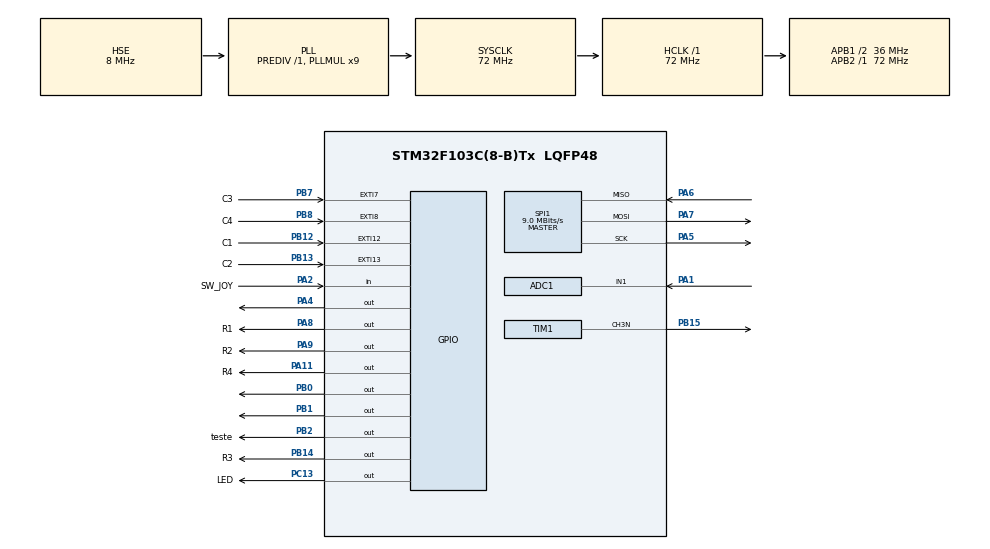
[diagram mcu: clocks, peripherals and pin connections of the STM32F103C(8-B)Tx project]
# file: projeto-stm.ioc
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ADC1.Channel-0\#ChannelRegularConversion=ADC_CHANNEL_1
ADC1.ContinuousConvMode=ENABLE
ADC1.Mode=__NULL
ADC1.NbrOfConversionFlag=1
ADC1.Rank-0\#ChannelRegularConversion=1
ADC1.SamplingTime-0\#ChannelRegularConversion=ADC_SAMPLETIME_55CYCLES_5
ADC1.master=1
Mcu.Family=STM32F1
Mcu.Name=STM32F103C(8-B)Tx
Mcu.Package=LQFP48
NVIC.EXTI15_10_IRQn=true\:0\:0\:false\:false\:true\:true\:true\:true
NVIC.EXTI9_5_IRQn=true\:0\:0\:false\:false\:true\:true\:true\:true
NVIC.PriorityGroup=NVIC_PRIORITYGROUP_4
NVIC.TIM2_IRQn=true\:0\:0\:false\:false\:true\:true\:true\:true
PA1.Signal=ADCx_IN1
PA10.Signal=S_TIM1_CH3
PA11.GPIO_Label=R4
PA11.PinState=GPIO_PIN_SET
PA11.Signal=GPIO_Output
PA13.Mode=Serial_Wire
PA13.Signal=SYS_JTMS-SWDIO
PA14.Mode=Serial_Wire
PA14.Signal=SYS_JTCK-SWCLK
PA2.GPIO_Label=SW_JOY
PA2.GPIO_PuPd=GPIO_PULLUP
PA2.Signal=GPIO_Input
PA4.GPIO_Speed=GPIO_SPEED_FREQ_HIGH
PA4.Signal=GPIO_Output
PA5.Mode=Full_Duplex_Master
PA5.Signal=SPI1_SCK
PA6.Mode=Full_Duplex_Master
PA6.Signal=SPI1_MISO
PA7.Mode=Full_Duplex_Master
PA7.Signal=SPI1_MOSI
PA8.GPIO_Label=R1
PA8.PinState=GPIO_PIN_SET
PA8.Signal=GPIO_Output
PA9.GPIO_Label=R2
PA9.PinState=GPIO_PIN_SET
PA9.Signal=GPIO_Output
PB0.GPIO_Speed=GPIO_SPEED_FREQ_HIGH
PB0.Signal=GPIO_Output
PB1.GPIO_Speed=GPIO_SPEED_FREQ_HIGH
PB1.Signal=GPIO_Output
PB12.GPIO_Label=C1
PB12.GPIO_ModeDefaultEXTI=GPIO_MODE_IT_FALLING
PB12.GPIO_PuPd=GPIO_PULLUP
PB12.Signal=GPXTI12
PB13.GPIO_Label=C2
PB13.GPIO_ModeDefaultEXTI=GPIO_MODE_IT_FALLING
PB13.GPIO_PuPd=GPIO_PULLUP
PB13.Signal=GPXTI13
PB14.GPIO_Label=R3
PB14.PinState=GPIO_PIN_SET
PB14.Signal=GPIO_Output
PB15.Mode=PWM Generation3 CH3N
PB15.Signal=TIM1_CH3N
PB2.GPIO_Label=teste
PB2.Signal=GPIO_Output
PB7.GPIO_Label=C3
PB7.GPIO_ModeDefaultEXTI=GPIO_MODE_IT_FALLING
PB7.GPIO_PuPd=GPIO_PULLUP
PB7.Signal=GPXTI7
PB8.GPIO_Label=C4
PB8.GPIO_ModeDefaultEXTI=GPIO_MODE_IT_FALLING
PB8.GPIO_PuPd=GPIO_PULLUP
PB8.Signal=GPXTI8
PC13-TAMPER-RTC.GPIO_Label=LED
PC13-TAMPER-RTC.GPIO_PuPd=GPIO_PULLDOWN
PC13-TAMPER-RTC.GPIO_Speed=GPIO_SPEED_FREQ_LOW
PC13-TAMPER-RTC.PinState=GPIO_PIN_SET
PC13-TAMPER-RTC.Signal=GPIO_Output
PC14-OSC32_IN.Mode=LSE-External-Oscillator
PC14-OSC32_IN.Signal=RCC_OSC32_IN
PC15-OSC32_OUT.Mode=LSE-External-Oscillator
PC15-OSC32_OUT.Signal=RCC_OSC32_OUT
PD0-OSC_IN.Mode=HSE-External-Oscillator
PD0-OSC_IN.Signal=RCC_OSC_IN
PD1-OSC_OUT.Mode=HSE-External-Oscillator
PD1-OSC_OUT.Signal=RCC_OSC_OUT
ProjectManager.HeapSize=0x200
ProjectManager.StackSize=0x400
ProjectManager.TargetToolchain=STM32CubeIDE
RCC.ADCPresc=RCC_ADCPCLK2_DIV6
RCC.AHBFreq_Value=72000000
RCC.APB1CLKDivider=RCC_HCLK_DIV2
RCC.APB1Freq_Value=36000000
RCC.APB1TimFreq_Value=72000000
RCC.APB2Freq_Value=72000000
RCC.APB2TimFreq_Value=72000000
RCC.HCLKFreq_Value=72000000
RCC.PLLMUL=RCC_PLL_MUL9
RCC.PLLSourceVirtual=RCC_PLLSOURCE_HSE
RCC.SYSCLKFreq_VALUE=72000000
RCC.SYSCLKSource=RCC_SYSCLKSOURCE_PLLCLK
RCC.USBFreq_Value=72000000
SH.ADCx_IN1.0=ADC1_IN1,IN1
SH.S_TIM1_CH3.0=TIM1_CH3
SPI1.BaudRatePrescaler=SPI_BAUDRATEPRESCALER_8
SPI1.CalculateBaudRate=9.0 MBits/s
SPI1.Direction=SPI_DIRECTION_2LINES
SPI1.Mode=SPI_MODE_MASTER
SPI1.VirtualType=VM_MASTER
TIM1.Channel-PWM\ Generation3\ CH3N=TIM_CHANNEL_3
TIM1.Period=999
TIM1.Prescaler=71
TIM1.Pulse-PWM\ Generation3\ CH3N=500
TIM2.Period=2999
TIM2.Prescaler=359
TIM3.Period=4999
TIM3.Prescaler=35999
VP_TIM1_VS_ClockSourceINT.Mode=Internal
VP_TIM2_VS_ClockSourceINT.Mode=Internal
VP_TIM3_VS_ClockSourceINT.Mode=Internal
board=custom

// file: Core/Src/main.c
/* USER CODE BEGIN Header */
/* USER CODE END Header */
#include "main.h"

/* USER CODE BEGIN Includes */
#include <stdlib.h> // Para 'srand' e 'rand'
#include <stdio.h>  // Para 'sprintf'
#include "my_font.h"
#include "st7789.h"
#include "keypad.h"
#include "joystick.h"
/* USER CODE END Includes */

ADC_HandleTypeDef hadc1;

SPI_HandleTypeDef hspi1;

TIM_HandleTypeDef htim1;
TIM_HandleTypeDef htim2;
TIM_HandleTypeDef htim3;

/* USER CODE BEGIN PV */

#define LED_GPIO_Port GPIOC
#define LED_Pin GPIO_PIN_13
// BASE DA VELOCIDADE:

// As variaveis g_ball_dx e g_ball_dy (agora em 2, 1) devem ser alteradas , setadas para teste
#define BALL_BASE_DX 2
#define BALL_BASE_DY 1

// --- VARIÁVEIS DA RAQUETE/PADDLE ---
#define PADDLE_WIDTH 5        // Largura da raquete (Eixo X)
#define PADDLE_HEIGHT 60
#define PADDLE_MOVE_STEP 4
// Raquete começa 5 pixels longe da borda direita (240 - 5 - 8 = 227)
#define PADDLE_X_POS (DISPLAY_WIDTH - PADDLE_WIDTH - 5) // **DEVE SER 227**
// Posição Y do topo da raquete (Inicializada no centro)
volatile uint16_t g_paddle_y = (DISPLAY_HEIGHT / 2) - (PADDLE_HEIGHT / 2);

// Variáveis de controle de tempo e estado
volatile uint32_t g_start_time = 0;
volatile uint8_t g_program_state = 0; // 0: Rodando (Bolinha), 1: Esperando Input

// VARIAVEL DE CONTROLE DE ESCALA
volatile float g_ball_speed_scale = 1.0f;
volatile uint32_t g_buzzer_duration_counter = 0;

// Frequência de 500Hz para o tom (Buzzer Passivo)
#define BUZZER_PERIOD_COLLISION 1999 // Periodo para ~500Hz com Prescaler 71
#define BUZZER_DUTY_CYCLE (BUZZER_PERIOD_COLLISION / 2) // 50% de ciclo de trabalho
#define BUZZER_COLLISION_MS 50 // Duração do som (50ms)

//Definicao JoyStick
#define JOY_SW_Port GPIOA
#define JOY_SW_Pin  GPIO_PIN_2

// Variável global para rastrear o estado anterior do botão
volatile uint8_t g_sw_joy_pressed_prev = 0; // 0 = Solto, 1 = Pressionado

//configuracoes para a conta matematica
volatile uint8_t g_num1;
volatile uint8_t g_num2;
volatile char g_operador; // '*' para multiplicação, '/' para divisão
volatile int16_t g_resposta_correta;

// Variavel de controle de velocidade do joystick
volatile uint8_t g_joystick_state = 0; // 0: Centro, 1: Cima, 2: Baixo
volatile uint8_t state_2_substate = 0;

/* USER CODE END PV */

void SystemClock_Config(void);
static void MX_GPIO_Init(void);
static void MX_TIM1_Init(void);
static void MX_SPI1_Init(void);
static void MX_TIM2_Init(void);
static void MX_TIM3_Init(void);
static void MX_ADC1_Init(void);

/* USER CODE BEGIN PFP */

//VARIAVEL FUNDO TELA
// Variável Global (volátil) para rastrear o estado da cor UTILIZADA NO TIMER 3
volatile uint8_t g_color_state = 0; // 0: Vermelho, 1: Azul

//VARIAVEL BOLINHA
// Posição atual da bolinha (coordenadas do centro)
volatile uint16_t g_ball_x = 120; // Centro X (240/2)
volatile uint16_t g_ball_y = 160; // Centro Y (320/2)

// Direção do movimento (pixels por quadro - 20 FPS)
volatile int8_t g_ball_dx = -2; // Move 2 pixels no eixo X por interrupção
volatile int8_t g_ball_dy = 1; // Move 1 pixel no eixo Y por interrupção
char input_word[16];

extern uint8_t Joystick_GetState(void);
//gerar um valor aleatorio RANDOM
uint32_t GenerateStrongSeed(void);
/* USER CODE END PFP */

/* USER CODE BEGIN 0 */

// Funções para controlar o PWM do BUZZER ----------------------------------
void Buzzer_Start(void)
{
    // 1. Configurar o TIM1 para a frequência audível (3kHz)
    TIM_OC_InitTypeDef sConfigOC = {0};

    sConfigOC.OCMode = TIM_OCMODE_PWM1;
    sConfigOC.Pulse = BUZZER_DUTY_CYCLE;
    sConfigOC.OCPolarity = TIM_OCPOLARITY_HIGH;
    sConfigOC.OCFastMode = TIM_OCFAST_DISABLE;

    // Configura o Período para a frequência do tom (3kHz)
    htim1.Init.Period = BUZZER_PERIOD_COLLISION;
    HAL_TIM_Base_Init(&htim1); // Aplica o novo período

    // Configura e inicia o Canal 3 (CH3) - PA10 esta conectado aqui
    if (HAL_TIM_PWM_ConfigChannel(&htim1, &sConfigOC, TIM_CHANNEL_3) != HAL_OK)
    {
      Error_Handler();
    }

    // 2. Iniciar o PWM (Se for Complementar - CH3N - pode precisar do Start/Stop N)
    HAL_TIM_PWM_Start(&htim1, TIM_CHANNEL_3);
}

void Buzzer_Stop(void)
{
    // Parar o PWM e garantir silêncio
    HAL_TIM_PWM_Stop(&htim1, TIM_CHANNEL_3);

    // Restaurar o Periodo do TIM1 para o Backlight (do seu código MX_TIM1_Init: 999)
    htim1.Init.Period = 999;
    HAL_TIM_Base_Init(&htim1);

    // Restaurar o ciclo de trabalho do Backlight (Assumindo 100% como no seu código)
    __HAL_TIM_SET_COMPARE(&htim1, TIM_CHANNEL_3, 999);

    // Reiniciar o PWM do Backlight
    HAL_TIM_PWM_Start(&htim1, TIM_CHANNEL_3);
}

/**
  * @brief Gera uma nova pergunta de multiplicação ou divisão.
  * @retval None
  */
void GenerateNewMathQuestion(void) {
    uint8_t op_choice = rand() % 2; // 0: Multiplicação, 1: Divisão

    if (op_choice == 0) { // Multiplicação (Geração de números entre 2 e 12)
        g_operador = 'x';

        // Mantemos um range menor (2 a 12) para que o resultado máximo (12*12 = 144)
        // caiba confortavelmente nas suas variáveis g_num1/g_num2 (uint8_t, max 255).
        g_num1 = (rand() % 11) + 2; // Range [2, 12]
        g_num2 = (rand() % 11) + 2; // Range [2, 12]

        g_resposta_correta = (int16_t)g_num1 * g_num2;
    } else { // Divisão (Geração de divisão com resultado inteiro)
        g_operador = '/';

        // 1. Gerar Quociente (Resultado) e Divisor (Ambos entre 2 e 12)
        uint8_t quociente = (rand() % 11) + 2; // Range [2, 12]
        uint8_t divisor = (rand() % 11) + 2;   // Range [2, 12]

        // 2. Calcular o Dividendo (g_num1) para garantir resultado inteiro
        g_num1 = divisor * quociente; // Dividendo = Divisor * Quociente

        // 3. Checagem de Overflow e Recalculo (Proteção)
        // Se o g_num1 (dividendo) for maior que 255 (máximo para uint8_t),
        // a conta pode ter problemas com a variável global g_num1.
        if (g_num1 > 255) {
             // Se houver overflow, forçamos um range menor, voltando à multiplicação
             // É melhor do que travar o jogo.
             g_operador = 'x';
             g_num1 = (rand() % 5) + 2;  // Range [2, 6]
             g_num2 = (rand() % 5) + 2;  // Range [2, 6]
             g_resposta_correta = (int16_t)g_num1 * g_num2;
             return;
        }

        // 4. Atribuir os valores finais
        g_num2 = divisor;              // O divisor
        g_resposta_correta = quociente; // O resultado (quociente)
    }
}

/**
  * @brief Desenha ou apaga a raquete na tela.
  * @param color: Cor para preencher.
  * @retval None
  */
void DrawPaddle(uint16_t color)
{
    // Define o canto superior esquerdo (x0, y0)
    uint16_t x0 = PADDLE_X_POS;
    uint16_t y0 = g_paddle_y;

    // Define o canto inferior direito (x1, y1)
    // Subtraímos 1 da largura e altura para incluir o pixel inicial.
    uint16_t x1 = PADDLE_X_POS + PADDLE_WIDTH - 1;
    uint16_t y1 = g_paddle_y + PADDLE_HEIGHT - 1;

    // Chama a função FillRect para desenhar o retângulo
    // Nota: A função FillRect que você compartilhou já lida com o WriteCommand(0x2C) e SPI.
    ST7789_FillRect(x0, y0, x1, y1, color);
}

/**
  * @brief Atualiza a posição da raquete baseado no joystick.
  * @retval None
  */
void UpdatePaddlePosition(void) {
    // 1. Salva a posição Y atual (antiga)
    uint16_t y_old = g_paddle_y;
	#define CLEANUP_MARGIN 2
    // 2. Lê o estado do joystick
    g_joystick_state = Joystick_GetState();

    // 3. Calcula a Nova Posição (g_paddle_y)
    if (g_joystick_state == 1) { // Cima
        // Usamos a subtração segura para evitar underflow (se g_paddle_y for uint16_t)
        if (g_paddle_y > PADDLE_MOVE_STEP) {
             g_paddle_y -= PADDLE_MOVE_STEP;
        } else {
             g_paddle_y = 0; // Se o movimento for maior que a posição atual, vai para 0
        }
    } else if (g_joystick_state == 2) { // Baixo
        g_paddle_y += PADDLE_MOVE_STEP;
    }

    // 4. Limita a raquete dentro dos limites (CLIPPING ROBUSTO)
    if (g_paddle_y < 0) {
        g_paddle_y = 0;
    }
    if (g_paddle_y > DISPLAY_HEIGHT - PADDLE_HEIGHT) {
        g_paddle_y = DISPLAY_HEIGHT - PADDLE_HEIGHT;
    }

    // 5. Desenho Otimizado: SOMENTE se a posição MUDOU
    if (g_paddle_y != y_old) {

        // --- APAGAR APENAS A DIFERENÇA (OTIMIZAÇÃO) ---

        // Se moveu para CIMA (y_old > g_paddle_y)
    	if (g_paddle_y < y_old) {

    	    // Área a ser apagada: A base que sobrou na posição antiga

    	    // 1. Ajuste X: Começa a apagar um pouco antes da raquete
    	    uint16_t x0 = PADDLE_X_POS - CLEANUP_MARGIN;

    	    // 2. Ajuste Y: O rastro na parte de baixo
    	    uint16_t y0 = y_old + PADDLE_HEIGHT - PADDLE_MOVE_STEP;
    	    uint16_t y1 = y_old + PADDLE_HEIGHT - 1;

    	    // 3. Ajuste X: Termina de apagar um pouco depois da raquete
    	    uint16_t x1 = PADDLE_X_POS + PADDLE_WIDTH - 1 + CLEANUP_MARGIN;

    	    // Apaga o rastro
    	    ST7789_FillRect(x0, y0, x1, y1, ST7789_COLOR_BLACK);
    	}

    	// Se moveu para BAIXO (g_paddle_y > y_old)
    	else if (g_paddle_y > y_old) {

    	    // Área a ser apagada: O topo que ficou para trás na posição antiga

    	    // 1. Ajuste X: Começa a apagar um pouco antes da raquete
    	    uint16_t x0 = PADDLE_X_POS - CLEANUP_MARGIN;

    	    // 2. Ajuste Y: O rastro na parte de cima
    	    uint16_t y0 = y_old;
    	    uint16_t y1 = y_old + PADDLE_MOVE_STEP - 1;

    	    // 3. Ajuste X: Termina de apagar um pouco depois da raquete
    	    uint16_t x1 = PADDLE_X_POS + PADDLE_WIDTH - 1 + CLEANUP_MARGIN;

    	    // Apaga o rastro
    	    ST7789_FillRect(x0, y0, x1, y1, ST7789_COLOR_BLACK);
    	}

        // --- DESENHAR O NOVO RETÂNGULO ---
        // Desenha o RETÂNGULO COMPLETO na nova posição (g_paddle_y)
        DrawPaddle(ST7789_COLOR_WHITE);
    }
    // Se a posição não mudou, não faz nada.
}

void GameOver(void){

      ST7789_DrawStringScaled(20, 100, "GAME OVER", ST7789_COLOR_WHITE, ST7789_COLOR_BLACK, 4);
      // O loop permanece aqui até um reset (ou lógica de reinício, se você adicionar)
      HAL_Delay(100); // Pequeno delay para evitar que o MCU gire ocioso muito rápido
}

void new_game(void){
	  ST7789_FillColor(ST7789_COLOR_BLACK); // Limpa a tela
	  ST7789_DrawStringScaled(40, 100, "NEW GAME", ST7789_COLOR_WHITE, ST7789_COLOR_BLACK, 4);
	  HAL_Delay(150);
	  cont_regressiva();
	  //Rotoma o jogo
	  // 2. REINICIALIZAÇÃO DA BOLINHA NO CENTRO
	  g_ball_x = DISPLAY_WIDTH / 2; // Centro Horizontal (320)
	  g_ball_y = DISPLAY_HEIGHT / 2; // Centro Vertical (240)

	  // Se BALL_BASE_DX for definido como 2, aqui será -2
	  g_ball_dx = -2; // Move 2 pixels no eixo X por interrupção
	  g_ball_dy = 1; // Move 1 pixel no eixo Y por interrupção)

	  g_program_state = 0; // Volta para o jogo
	  g_start_time = HAL_GetTick();
	  // A bolinha será desenhada na primeira interrupção do TIM2, mas a raquete deve ser imediata
	  DrawPaddle(ST7789_COLOR_WHITE); // Desenha a raquete na posição atual
	  ST7789_DrawBall(g_ball_x, g_ball_y, ST7789_COLOR_WHITE); // Garante que a bolinha apareça antes da interrupção
	  HAL_TIM_Base_Start_IT(&htim2); // RETOMA A ANIMAÇÃO
}

void cont_regressiva(void){
		// X = 108: Centralizado
		const uint16_t X_CENTERED = 148;
		const uint16_t Y_POSITION = 100; // Mantendo a posição vertical
		const uint8_t SCALE = 4;
	  ST7789_FillColor(ST7789_COLOR_BLACK); // Limpa a tela
	  ST7789_DrawStringScaled(X_CENTERED, Y_POSITION, "3", ST7789_COLOR_WHITE, ST7789_COLOR_BLACK, SCALE);
	  HAL_Delay(150);
	  ST7789_FillColor(ST7789_COLOR_BLACK); // Limpa a tela
	  ST7789_DrawStringScaled(X_CENTERED, Y_POSITION, "2", ST7789_COLOR_WHITE, ST7789_COLOR_BLACK, SCALE);
	  HAL_Delay(150);
	  ST7789_FillColor(ST7789_COLOR_BLACK); // Limpa a tela
	  ST7789_DrawStringScaled(X_CENTERED, Y_POSITION, "1", ST7789_COLOR_WHITE, ST7789_COLOR_BLACK, SCALE);
	  HAL_Delay(150);
	  ST7789_FillColor(ST7789_COLOR_BLACK); // Limpa a tela
}
/**
  * @brief Gerar um valor aleatri oatraves do ruido do joystick
  * @retval None
  */
uint32_t GenerateStrongSeed(void) {
    // Fatores variáveis para iteração:
    // 1. Contador de ticks atual (Alto valor após a introdução de 5 segundos)
    uint32_t current_tick = HAL_GetTick();

    // 2. Ruído do Joystick (ADC)
    uint32_t adc_reading = 0;

    // Lista de iteração: Iteramos sobre o número de conversões do ADC.
    const int NUM_ITERATIONS = 32;

    HAL_ADC_Start(&hadc1);

    for (int i = 0; i < NUM_ITERATIONS; i++) {
        if (HAL_ADC_PollForConversion(&hadc1, 10) == HAL_OK) {
            // Combina o ADC com o tick e o índice do loop (i)
            adc_reading ^= HAL_ADC_GetValue(&hadc1) + current_tick + i;
        }
        // Usar um delay muito pequeno aqui aumenta a variância do ADC
        HAL_Delay(1);
    }

    HAL_ADC_Stop(&hadc1);

    // O valor final da semente é a combinação dos fatores iterados.
    return adc_reading ^ current_tick;
}
/**
  * @brief A função chamada pela HAL quando um Timer expira
  * @retval None
  */
void HAL_TIM_PeriodElapsedCallback(TIM_HandleTypeDef *htim)
{

    // Verifica se a interrupção é do Timer 2
	if (htim->Instance == TIM2)
	    {
	    	// Executa apenas se estiver no estado de jogo (Rodando)
	    	if (g_program_state != 0) {
	    	    return; // Se não estiver rodando, apenas retorna
	    	}

	    	//Salvar a posição ANTIGA
			uint16_t x_old = g_ball_x;
			uint16_t y_old = g_ball_y;

	    	uint8_t collision_detected = 0;

	        // 1. Limpar (apagar) a bolinha na posição antiga:
	        //ST7789_DrawBall(g_ball_x, g_ball_y, ST7789_COLOR_BLACK);

	        // 2. CÁLCULO DE COLISÃO E BORDAS

	        // Verifica colisão nas laterais ESQUERDA (Eixo X: 0)
	        // NOTA: A colisão na lateral direita será a raquete ou o Game Over
	        if (g_ball_x + g_ball_dx <= BALL_RADIUS) {
	            g_ball_dx = -g_ball_dx;
	            collision_detected = 1;
			}
	        // Verifica colisão no topo/base (Eixo Y: 0 a 319)
			if (g_ball_y + g_ball_dy >= DISPLAY_HEIGHT - 1 - BALL_RADIUS || g_ball_y + g_ball_dy <= BALL_RADIUS) {
				g_ball_dy = -g_ball_dy;
				collision_detected = 1;
			}

			// --- COLISÃO COM A RAQUETE (LADO DIREITO) ---
	        // 1. Previsão da Próxima Posição da Borda Direita da Bolinha
	        uint16_t next_ball_right_x = g_ball_x + g_ball_dx + BALL_RADIUS;
	        uint16_t ball_y_top = g_ball_y - BALL_RADIUS;
	        uint16_t ball_y_bottom = g_ball_y + BALL_RADIUS;

	        // 2. Verifica se a bolinha está indo para a direita e cruzou a posição X da Raquete
	        if (g_ball_dx > 0 && next_ball_right_x >= PADDLE_X_POS) {

	            // 3. Verifica se a bolinha está dentro da altura (Y) da Raquete
	            if (ball_y_bottom >= g_paddle_y && ball_y_top <= g_paddle_y + PADDLE_HEIGHT) {
	                // COLISÃO COM A RAQUETE DETECTADA!
	            	g_ball_x = PADDLE_X_POS - BALL_RADIUS;
	                g_ball_dx = -g_ball_dx; // Inverte o movimento X
	                collision_detected = 1;

	                // Move a bolinha para evitar que ela "grude" na raquete
	                //g_ball_x = PADDLE_X_POS - BALL_RADIUS - 1;

	            } else {
	                // FIM DE JOGO: Bolinha passou pela direita
	                HAL_TIM_Base_Stop_IT(&htim2); // PÁRA A ANIMAÇÃO
	                // Apaga a bolinha antes de mudar o estado
	                ST7789_DrawBall(g_ball_x, g_ball_y, ST7789_COLOR_BLACK);
	                DrawPaddle(ST7789_COLOR_BLACK); // Apaga a raquete
	                g_program_state = 1; // Transiciona para o estado Game Over
	                return; // Sai da ISR
	            }
	        }
		if (collision_detected) {
				// Se o buzzer já estiver tocando, ignora (ou reinicia o tempo)
				if (g_buzzer_duration_counter == 0) {
				   g_buzzer_duration_counter = HAL_GetTick() + BUZZER_COLLISION_MS;
				   Buzzer_Start();
				}
		}
		// --- PASSO 2: Mover a Bolinha para a nova posição ---
		    // Fazemos o movimento SÓ DEPOIS de calcular o Bounding Box
		    uint16_t x_future = x_old + g_ball_dx;
		    uint16_t y_future = y_old + g_ball_dy;

		    // 3. Apagamento da Área Abrangente
		    // Calcula a caixa que cobre (x_old, y_old) e (x_future, y_future)

		    // Ponto superior esquerdo (mínimo X e mínimo Y)
		    uint16_t x_min = (x_old < x_future) ? x_old : x_future;
		    uint16_t y_min = (y_old < y_future) ? y_old : y_future;

		    // Ponto inferior direito (máximo X e máximo Y)
		    uint16_t x_max = (x_old > x_future) ? x_old : x_future;
		    uint16_t y_max = (y_old > y_future) ? y_old : y_future;

		    // Ajusta a caixa para incluir o Raio (BALL_RADIUS) e a margem de segurança (ex: +1 pixel)
		    // O apagamento deve ir de (x_min - R - 1) até (x_max + R + 1)

		    uint16_t x0_erase = x_min - BALL_RADIUS - 2;

		    uint16_t y0_erase = y_min - BALL_RADIUS - 2;

		    uint16_t x1_erase = x_max + BALL_RADIUS + 2;

		    uint16_t y1_erase = y_max + BALL_RADIUS + 2;

		    // Garante que não saímos dos limites da tela (0 a 319 / 0 a 239)
		    if (x0_erase < 0) x0_erase = 0;
		    if (y0_erase < 0) y0_erase = 0;
		    if (x1_erase >= DISPLAY_WIDTH) x1_erase = DISPLAY_WIDTH - 1;
		    if (y1_erase >= DISPLAY_HEIGHT) y1_erase = DISPLAY_HEIGHT - 1;

		    // Apaga a área completa com a cor de fundo (ST7789_COLOR_BLACK)
		    ST7789_FillRect(x0_erase, y0_erase, x1_erase, y1_erase, ST7789_COLOR_BLACK);

		    // 4. Mover a Bolinha para a nova posição e atualizar a global
		    g_ball_x = x_future;
		    g_ball_y = y_future;

		    // 5. Desenhar a bolinha na nova posição:
		    ST7789_DrawBall(g_ball_x, g_ball_y, ST7789_COLOR_WHITE);

    }

}

/* USER CODE END 0 */

int main(void)
{

  /* MCU Configuration--------------------------------------------------------*/

  /* Reset of all peripherals, Initializes the Flash interface and the Systick. */
  HAL_Init();

  /* Configure the system clock */
  SystemClock_Config();

  /* Initialize all configured peripherals */
  MX_GPIO_Init();
  MX_TIM1_Init();
  MX_SPI1_Init();
  MX_TIM2_Init();
  MX_TIM3_Init();
  MX_ADC1_Init();
  Joystick_Init(&hadc1);

  /* USER CODE BEGIN 2 */

  	// 1. Ligar o Backlight (Brilho Máximo - 100%)
  	HAL_TIM_PWM_Start(&htim1, TIM_CHANNEL_3);
  	__HAL_TIM_SET_COMPARE(&htim1, TIM_CHANNEL_3, 999); // Period=999

  	// 2. Inicializar o Display ST7789
  	ST7789_Init();
  	// 3. Ligar a Tela em uma cor escolhida
  	ST7789_FillColor(ST7789_COLOR_BLACK);

  	// --- DEFINIÇÕES PARA O TEXTO ---
  	uint16_t TEXT_X = 10;
  	uint16_t TEXT_Y_LINE1 = 10;
  	uint16_t TEXT_Y_LINE2 = 45;
 	uint16_t TEXT_Y_LINE3 = 80;
  	uint8_t scale_factor = 3;  //definir a escala que será escrito

  	// LINHA 1
  	ST7789_DrawStringScaled(TEXT_X, TEXT_Y_LINE1, "OLA", ST7789_COLOR_WHITE, ST7789_COLOR_WHITE, scale_factor);
  	// LINHA 2
  	ST7789_DrawStringScaled(TEXT_X, TEXT_Y_LINE2, "BEM VINDO AO", ST7789_COLOR_WHITE, ST7789_COLOR_WHITE, scale_factor);
  	// LINHA 3
  	ST7789_DrawStringScaled(TEXT_X, TEXT_Y_LINE3, "PONG", ST7789_COLOR_WHITE, ST7789_COLOR_WHITE, 4);
  	HAL_Delay(1500);
  	srand(GenerateStrongSeed());

  	// 1. Apagar a LINHA 1: Redesenha "OLA" usando a cor BRANCA (cor de fundo)
  	ST7789_DrawStringScaled(TEXT_X, TEXT_Y_LINE1, "OLA", ST7789_COLOR_BLACK, ST7789_COLOR_WHITE, scale_factor);

  	// 2. Apagar a LINHA 2: Redesenha "FIN" usando a cor BRANCA (cor de fundo)
  	ST7789_DrawStringScaled(TEXT_X, TEXT_Y_LINE2, "BEM VINDO AO", ST7789_COLOR_BLACK, ST7789_COLOR_WHITE, scale_factor);

  	// 2. Apagar a LINHA 3: Redesenha "" usando a cor BRANCA (cor de fundo)
  	ST7789_DrawStringScaled(TEXT_X, TEXT_Y_LINE3, "PONG", ST7789_COLOR_BLACK, ST7789_COLOR_WHITE, 4);
  	ST7789_FillColor(ST7789_COLOR_BLACK);
  	HAL_Delay(1000);
  	cont_regressiva();
  	g_program_state = 0; // Inicia no estado de "Rodando"
  	// 1. Iniciar Timer da Bolinha e Estado
  	HAL_TIM_Base_Start_IT(&htim2); // Timer 50ms (animação)

  	// 2. Iniciar a contagem de 10 segundos
  	g_start_time = HAL_GetTick();

  /* USER CODE END 2 */

  /* Infinite loop */
  /* USER CODE BEGIN WHILE */
  	while (1)
  	  {
  		  //HAL_GPIO_TogglePin(LED_GPIO_Port, LED_Pin);
  		  HAL_Delay(50); // Mantenha um delay baixo para boa resposta do joystick
  		  //Buzzer Stop
  		  if (g_buzzer_duration_counter > 0 && HAL_GetTick() >= g_buzzer_duration_counter) {
  		            Buzzer_Stop();
  		            g_buzzer_duration_counter = 0;
  		  }
  		  // --- FLUXO DE ESTADOS ---

  		if (g_program_state == 0) {
  		          // Estado 0: Rodando Normal (JOGO)
  		          UpdatePaddlePosition();
  		}

  		else if (g_program_state == 1) {
  		          // Estado 2: DESAFIO MATEMÁTICO (Processamento de Input)

  		          if (state_2_substate == 0) {
  		              // SUBESTADO 0: CONFIGURAÇÃO/PREPARAR TELA
  		              GenerateNewMathQuestion();

  		              // Desenha o prompt
  		              char question_str[30];
  		              sprintf(question_str, "%d %c %d = ?", g_num1, g_operador, g_num2);

  		              ST7789_FillColor(ST7789_COLOR_BLACK); // Limpa a tela
  		              HAL_Delay(100);

  		              ST7789_DrawStringScaled(10, 50, "DESAFIO", ST7789_COLOR_WHITE, ST7789_COLOR_BLACK, 3);
  		              ST7789_DrawStringScaled(10, 100, question_str, ST7789_COLOR_WHITE, ST7789_COLOR_BLACK, 2);

  		              // Limpar o buffer de input (importante para nova entrada)
  		              memset(input_word, 0, sizeof(input_word));

  		              state_2_substate = 1; // Próximo subestado: Esperar Input
  		          }

  		          else if (state_2_substate == 1) {
  		              // SUBESTADO 1: CHAMA A FUNÇÃO BLOQUEANTE E RETORNA AQUI COM A RESPOSTA
  		              // Se KEYPAD_GetWord é BLOQUEANTE, ele travará aqui até 'D' ser pressionado.
  		              KEYPAD_GetWord(input_word, 16);

  		              // Se a função KEYPAD_GetWord() bloqueia o código e só retorna quando
  		              // o usuário finaliza, o código segue diretamente para o Subestado 2.
  		              state_2_substate = 2;
  		          }

  		          else if (state_2_substate == 2) {
  		              // SUBESTADO 2: VALIDAÇÃO E TRANSIÇÃO
  		              int16_t user_answer = atoi(input_word);

  		              if (user_answer == g_resposta_correta) {
  		                  // CORRETO: Retorna ao jogo
  		                  ST7789_DrawStringScaled(10, 180, "CORRETO!", ST7789_COLOR_WHITE, ST7789_COLOR_BLACK, 3);
  		                  HAL_Delay(1500);

  		                  // Retorna ao Jogo
  		                  ST7789_FillColor(ST7789_COLOR_BLACK); // Limpa a tela para o jogo
  		                  HAL_Delay(150);

  		                // 2. REINICIALIZAÇÃO DA BOLINHA NO CENTRO
						  g_ball_x = DISPLAY_WIDTH / 2; // Centro Horizontal (320)
						  g_ball_y = DISPLAY_HEIGHT / 2; // Centro Vertical (240)

						  // Se BALL_BASE_DX for definido como 2, aqui será -2
						  g_ball_dx = -2; // Move 2 pixels no eixo X por interrupção
						  g_ball_dy = 1; // Move 1 pixel no eixo Y por interrupção)

  		                  g_program_state = 0; // Volta para o jogo
  		                  g_start_time = HAL_GetTick();
  		                  // A bolinha será desenhada na primeira interrupção do TIM2, mas a raquete deve ser imediata
						  DrawPaddle(ST7789_COLOR_WHITE); // Desenha a raquete na posição atual
						  ST7789_DrawBall(g_ball_x, g_ball_y, ST7789_COLOR_WHITE); // Garante que a bolinha apareça antes da interrupção
		                  HAL_TIM_Base_Start_IT(&htim2); // RETOMA A ANIMAÇÃO

  		              } else {
  		                  // ERRADO: Game Over
  		                  ST7789_DrawStringScaled(10, 180, "ERRADO!", ST7789_COLOR_WHITE, ST7789_COLOR_BLACK, 3);
  		                  char correct_str[30];
  		                  sprintf(correct_str, "Resp correta: %d", g_resposta_correta);
  		                  ST7789_DrawStringScaled(10, 220, correct_str, ST7789_COLOR_WHITE, ST7789_COLOR_BLACK, 2);
  		                  HAL_Delay(3000);
  						  ST7789_FillColor(ST7789_COLOR_BLACK); // Limpa a tela
  		                  g_program_state = 2; // Transiciona para Game Over
  		              }
  		              state_2_substate = 0; // Reseta o subestado para a próxima rodada

  		          }
  		      }

  		      else if (g_program_state == 2) {
  		          // Estado 2: GAME OVER
  		    	  GameOver();

  		    	// Lê o estado do pino (assumindo que LOW = Pressionado)
  		    	    GPIO_PinState joy_state = HAL_GPIO_ReadPin(JOY_SW_Port, JOY_SW_Pin);

  		    	    if (joy_state == GPIO_PIN_RESET) { // RESET ou LOW significa Pressionado (se configurado com Pull-up)
  		    	         // Inicia um novo jogo.
  		    	         new_game();
  		    	    }
  		      }
    /* USER CODE END WHILE */

  }
}

void SystemClock_Config(void)
{
  RCC_OscInitTypeDef RCC_OscInitStruct = {0};
  RCC_ClkInitTypeDef RCC_ClkInitStruct = {0};
  RCC_PeriphCLKInitTypeDef PeriphClkInit = {0};

  /** Initializes the RCC Oscillators according to the specified parameters
  * in the RCC_OscInitTypeDef structure.
  */
  RCC_OscInitStruct.OscillatorType = RCC_OSCILLATORTYPE_HSE;
  RCC_OscInitStruct.HSEState = RCC_HSE_ON;
  RCC_OscInitStruct.HSEPredivValue = RCC_HSE_PREDIV_DIV1;
  RCC_OscInitStruct.HSIState = RCC_HSI_ON;
  RCC_OscInitStruct.PLL.PLLState = RCC_PLL_ON;
  RCC_OscInitStruct.PLL.PLLSource = RCC_PLLSOURCE_HSE;
  RCC_OscInitStruct.PLL.PLLMUL = RCC_PLL_MUL9;
  if (HAL_RCC_OscConfig(&RCC_OscInitStruct) != HAL_OK)
  {
    Error_Handler();
  }

  /** Initializes the CPU, AHB and APB buses clocks
  */
  RCC_ClkInitStruct.ClockType = RCC_CLOCKTYPE_HCLK|RCC_CLOCKTYPE_SYSCLK
                              |RCC_CLOCKTYPE_PCLK1|RCC_CLOCKTYPE_PCLK2;
  RCC_ClkInitStruct.SYSCLKSource = RCC_SYSCLKSOURCE_PLLCLK;
  RCC_ClkInitStruct.AHBCLKDivider = RCC_SYSCLK_DIV1;
  RCC_ClkInitStruct.APB1CLKDivider = RCC_HCLK_DIV2;
  RCC_ClkInitStruct.APB2CLKDivider = RCC_HCLK_DIV1;

  if (HAL_RCC_ClockConfig(&RCC_ClkInitStruct, FLASH_LATENCY_2) != HAL_OK)
  {
    Error_Handler();
  }
  PeriphClkInit.PeriphClockSelection = RCC_PERIPHCLK_ADC;
  PeriphClkInit.AdcClockSelection = RCC_ADCPCLK2_DIV6;
  if (HAL_RCCEx_PeriphCLKConfig(&PeriphClkInit) != HAL_OK)
  {
    Error_Handler();
  }
}

static void MX_ADC1_Init(void)
{

  ADC_ChannelConfTypeDef sConfig = {0};

  /** Common config
  */
  hadc1.Instance = ADC1;
  hadc1.Init.ScanConvMode = ADC_SCAN_DISABLE;
  hadc1.Init.ContinuousConvMode = ENABLE;
  hadc1.Init.DiscontinuousConvMode = DISABLE;
  hadc1.Init.ExternalTrigConv = ADC_SOFTWARE_START;
  hadc1.Init.DataAlign = ADC_DATAALIGN_RIGHT;
  hadc1.Init.NbrOfConversion = 1;
  if (HAL_ADC_Init(&hadc1) != HAL_OK)
  {
    Error_Handler();
  }

  /** Configure Regular Channel
  */
  sConfig.Channel = ADC_CHANNEL_1;
  sConfig.Rank = ADC_REGULAR_RANK_1;
  sConfig.SamplingTime = ADC_SAMPLETIME_55CYCLES_5;
  if (HAL_ADC_ConfigChannel(&hadc1, &sConfig) != HAL_OK)
  {
    Error_Handler();
  }

}

static void MX_SPI1_Init(void)
{

  /* SPI1 parameter configuration*/
  hspi1.Instance = SPI1;
  hspi1.Init.Mode = SPI_MODE_MASTER;
  hspi1.Init.Direction = SPI_DIRECTION_2LINES;
  hspi1.Init.DataSize = SPI_DATASIZE_8BIT;
  hspi1.Init.CLKPolarity = SPI_POLARITY_LOW;
  hspi1.Init.CLKPhase = SPI_PHASE_1EDGE;
  hspi1.Init.NSS = SPI_NSS_SOFT;
  hspi1.Init.BaudRatePrescaler = SPI_BAUDRATEPRESCALER_8;
  hspi1.Init.FirstBit = SPI_FIRSTBIT_MSB;
  hspi1.Init.TIMode = SPI_TIMODE_DISABLE;
  hspi1.Init.CRCCalculation = SPI_CRCCALCULATION_DISABLE;
  hspi1.Init.CRCPolynomial = 10;
  if (HAL_SPI_Init(&hspi1) != HAL_OK)
  {
    Error_Handler();
  }

}

static void MX_TIM1_Init(void)
{

  TIM_ClockConfigTypeDef sClockSourceConfig = {0};
  TIM_MasterConfigTypeDef sMasterConfig = {0};
  TIM_OC_InitTypeDef sConfigOC = {0};
  TIM_BreakDeadTimeConfigTypeDef sBreakDeadTimeConfig = {0};

  htim1.Instance = TIM1;
  htim1.Init.Prescaler = 71;
  htim1.Init.CounterMode = TIM_COUNTERMODE_UP;
  htim1.Init.Period = 999;
  htim1.Init.ClockDivision = TIM_CLOCKDIVISION_DIV1;
  htim1.Init.RepetitionCounter = 0;
  htim1.Init.AutoReloadPreload = TIM_AUTORELOAD_PRELOAD_DISABLE;
  if (HAL_TIM_Base_Init(&htim1) != HAL_OK)
  {
    Error_Handler();
  }
  sClockSourceConfig.ClockSource = TIM_CLOCKSOURCE_INTERNAL;
  if (HAL_TIM_ConfigClockSource(&htim1, &sClockSourceConfig) != HAL_OK)
  {
    Error_Handler();
  }
  if (HAL_TIM_PWM_Init(&htim1) != HAL_OK)
  {
    Error_Handler();
  }
  sMasterConfig.MasterOutputTrigger = TIM_TRGO_RESET;
  sMasterConfig.MasterSlaveMode = TIM_MASTERSLAVEMODE_DISABLE;
  if (HAL_TIMEx_MasterConfigSynchronization(&htim1, &sMasterConfig) != HAL_OK)
  {
    Error_Handler();
  }
  sConfigOC.OCMode = TIM_OCMODE_PWM1;
  sConfigOC.Pulse = 500;
  sConfigOC.OCPolarity = TIM_OCPOLARITY_HIGH;
  sConfigOC.OCNPolarity = TIM_OCNPOLARITY_HIGH;
  sConfigOC.OCFastMode = TIM_OCFAST_DISABLE;
  sConfigOC.OCIdleState = TIM_OCIDLESTATE_RESET;
  sConfigOC.OCNIdleState = TIM_OCNIDLESTATE_RESET;
  if (HAL_TIM_PWM_ConfigChannel(&htim1, &sConfigOC, TIM_CHANNEL_3) != HAL_OK)
  {
    Error_Handler();
  }
  sBreakDeadTimeConfig.OffStateRunMode = TIM_OSSR_DISABLE;
  sBreakDeadTimeConfig.OffStateIDLEMode = TIM_OSSI_DISABLE;
  sBreakDeadTimeConfig.LockLevel = TIM_LOCKLEVEL_OFF;
  sBreakDeadTimeConfig.DeadTime = 0;
  sBreakDeadTimeConfig.BreakState = TIM_BREAK_DISABLE;
  sBreakDeadTimeConfig.BreakPolarity = TIM_BREAKPOLARITY_HIGH;
  sBreakDeadTimeConfig.AutomaticOutput = TIM_AUTOMATICOUTPUT_DISABLE;
  if (HAL_TIMEx_ConfigBreakDeadTime(&htim1, &sBreakDeadTimeConfig) != HAL_OK)
  {
    Error_Handler();
  }
  HAL_TIM_MspPostInit(&htim1);

}

static void MX_TIM2_Init(void)
{

  TIM_ClockConfigTypeDef sClockSourceConfig = {0};
  TIM_MasterConfigTypeDef sMasterConfig = {0};

  htim2.Instance = TIM2;
  htim2.Init.Prescaler = 359;
  htim2.Init.CounterMode = TIM_COUNTERMODE_UP;
  htim2.Init.Period = 2999;
  htim2.Init.ClockDivision = TIM_CLOCKDIVISION_DIV1;
  htim2.Init.AutoReloadPreload = TIM_AUTORELOAD_PRELOAD_DISABLE;
  if (HAL_TIM_Base_Init(&htim2) != HAL_OK)
  {
    Error_Handler();
  }
  sClockSourceConfig.ClockSource = TIM_CLOCKSOURCE_INTERNAL;
  if (HAL_TIM_ConfigClockSource(&htim2, &sClockSourceConfig) != HAL_OK)
  {
    Error_Handler();
  }
  sMasterConfig.MasterOutputTrigger = TIM_TRGO_RESET;
  sMasterConfig.MasterSlaveMode = TIM_MASTERSLAVEMODE_DISABLE;
  if (HAL_TIMEx_MasterConfigSynchronization(&htim2, &sMasterConfig) != HAL_OK)
  {
    Error_Handler();
  }

}

static void MX_TIM3_Init(void)
{

  TIM_ClockConfigTypeDef sClockSourceConfig = {0};
  TIM_MasterConfigTypeDef sMasterConfig = {0};

  htim3.Instance = TIM3;
  htim3.Init.Prescaler = 35999;
  htim3.Init.CounterMode = TIM_COUNTERMODE_UP;
  htim3.Init.Period = 4999;
  htim3.Init.ClockDivision = TIM_CLOCKDIVISION_DIV1;
  htim3.Init.AutoReloadPreload = TIM_AUTORELOAD_PRELOAD_DISABLE;
  if (HAL_TIM_Base_Init(&htim3) != HAL_OK)
  {
    Error_Handler();
  }
  sClockSourceConfig.ClockSource = TIM_CLOCKSOURCE_INTERNAL;
  if (HAL_TIM_ConfigClockSource(&htim3, &sClockSourceConfig) != HAL_OK)
  {
    Error_Handler();
  }
  sMasterConfig.MasterOutputTrigger = TIM_TRGO_RESET;
  sMasterConfig.MasterSlaveMode = TIM_MASTERSLAVEMODE_DISABLE;
  if (HAL_TIMEx_MasterConfigSynchronization(&htim3, &sMasterConfig) != HAL_OK)
  {
    Error_Handler();
  }

}

static void MX_GPIO_Init(void)
{
  GPIO_InitTypeDef GPIO_InitStruct = {0};

  /* GPIO Ports Clock Enable */
  __HAL_RCC_GPIOC_CLK_ENABLE();
  __HAL_RCC_GPIOD_CLK_ENABLE();
  __HAL_RCC_GPIOA_CLK_ENABLE();
  __HAL_RCC_GPIOB_CLK_ENABLE();

  /*Configure GPIO pin Output Level */
  HAL_GPIO_WritePin(LED_GPIO_Port, LED_Pin, GPIO_PIN_SET);

  /*Configure GPIO pin Output Level */
  HAL_GPIO_WritePin(GPIOA, GPIO_PIN_4, GPIO_PIN_RESET);

  /*Configure GPIO pin Output Level */
  HAL_GPIO_WritePin(GPIOB, GPIO_PIN_0|GPIO_PIN_1|teste_Pin, GPIO_PIN_RESET);

  /*Configure GPIO pin Output Level */
  HAL_GPIO_WritePin(R3_GPIO_Port, R3_Pin, GPIO_PIN_SET);

  /*Configure GPIO pin Output Level */
  HAL_GPIO_WritePin(GPIOA, R1_Pin|R2_Pin|R4_Pin, GPIO_PIN_SET);

  /*Configure GPIO pin : LED_Pin */
  GPIO_InitStruct.Pin = LED_Pin;
  GPIO_InitStruct.Mode = GPIO_MODE_OUTPUT_PP;
  GPIO_InitStruct.Pull = GPIO_PULLDOWN;
  GPIO_InitStruct.Speed = GPIO_SPEED_FREQ_LOW;
  HAL_GPIO_Init(LED_GPIO_Port, &GPIO_InitStruct);

  /*Configure GPIO pin : SW_JOY_Pin */
  GPIO_InitStruct.Pin = SW_JOY_Pin;
  GPIO_InitStruct.Mode = GPIO_MODE_INPUT;
  GPIO_InitStruct.Pull = GPIO_PULLUP;
  HAL_GPIO_Init(SW_JOY_GPIO_Port, &GPIO_InitStruct);

  /*Configure GPIO pin : PA4 */
  GPIO_InitStruct.Pin = GPIO_PIN_4;
  GPIO_InitStruct.Mode = GPIO_MODE_OUTPUT_PP;
  GPIO_InitStruct.Pull = GPIO_NOPULL;
  GPIO_InitStruct.Speed = GPIO_SPEED_FREQ_HIGH;
  HAL_GPIO_Init(GPIOA, &GPIO_InitStruct);

  /*Configure GPIO pins : PB0 PB1 */
  GPIO_InitStruct.Pin = GPIO_PIN_0|GPIO_PIN_1;
  GPIO_InitStruct.Mode = GPIO_MODE_OUTPUT_PP;
  GPIO_InitStruct.Pull = GPIO_NOPULL;
  GPIO_InitStruct.Speed = GPIO_SPEED_FREQ_HIGH;
  HAL_GPIO_Init(GPIOB, &GPIO_InitStruct);

  /*Configure GPIO pins : teste_Pin R3_Pin */
  GPIO_InitStruct.Pin = teste_Pin|R3_Pin;
  GPIO_InitStruct.Mode = GPIO_MODE_OUTPUT_PP;
  GPIO_InitStruct.Pull = GPIO_NOPULL;
  GPIO_InitStruct.Speed = GPIO_SPEED_FREQ_LOW;
  HAL_GPIO_Init(GPIOB, &GPIO_InitStruct);

  /*Configure GPIO pins : C1_Pin C2_Pin C3_Pin C4_Pin */
  GPIO_InitStruct.Pin = C1_Pin|C2_Pin|C3_Pin|C4_Pin;
  GPIO_InitStruct.Mode = GPIO_MODE_IT_FALLING;
  GPIO_InitStruct.Pull = GPIO_PULLUP;
  HAL_GPIO_Init(GPIOB, &GPIO_InitStruct);

  /*Configure GPIO pins : R1_Pin R2_Pin R4_Pin */
  GPIO_InitStruct.Pin = R1_Pin|R2_Pin|R4_Pin;
  GPIO_InitStruct.Mode = GPIO_MODE_OUTPUT_PP;
  GPIO_InitStruct.Pull = GPIO_NOPULL;
  GPIO_InitStruct.Speed = GPIO_SPEED_FREQ_LOW;
  HAL_GPIO_Init(GPIOA, &GPIO_InitStruct);

  /* EXTI interrupt init*/
  HAL_NVIC_SetPriority(EXTI9_5_IRQn, 0, 0);
  HAL_NVIC_EnableIRQ(EXTI9_5_IRQn);

  HAL_NVIC_SetPriority(EXTI15_10_IRQn, 0, 0);
  HAL_NVIC_EnableIRQ(EXTI15_10_IRQn);

}

void Error_Handler(void)
{
  __disable_irq();
  while (1)
  {
  }
}
